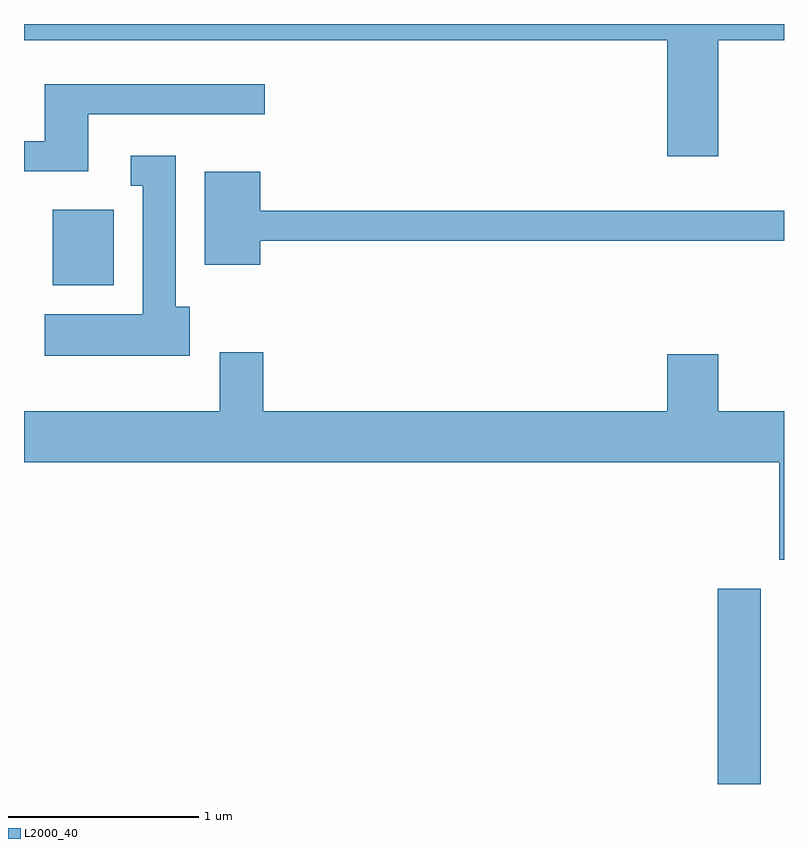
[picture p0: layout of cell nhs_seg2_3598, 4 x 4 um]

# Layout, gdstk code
import gdstk
lib = gdstk.Library(unit=1e-6, precision=1e-09)
def R(c, l, rs):  # rectangles x0, y0, x1, y1
    for r in rs: c.add(gdstk.rectangle(r[:2], r[2:], *l))
def P(c, l, *ps):  # polygons
    for p in ps: c.add(gdstk.Polygon(p, *l))
L2000_40 = (2000, 40)

nhs_seg2_3598 = lib.new_cell('nhs_seg2_3598')
R(nhs_seg2_3598, L2000_40, [(295.261,977.802,295.489,978.829), (291.761,980.426,292.084,980.824)])
P(nhs_seg2_3598, L2000_40, [(295.264,981.716),(295.611,981.716),(295.611,981.802),(291.611,981.802),(291.611,981.716),(294.996,981.716),(294.996,981.106),(295.264,981.106)],
  [(291.949,981.326),(292.878,981.326),(292.878,981.484),(291.721,981.484),(291.721,981.184),(291.611,981.184),(291.611,981.026),(291.949,981.026)],
  [(292.484,980.314),(292.409,980.314),(292.409,981.109),(292.173,981.109),(292.173,980.951),(292.236,980.951),(292.236,980.274),(291.721,980.274),(291.721,980.056),(292.484,980.056)],
  [(292.854,980.661),(295.611,980.661),(295.611,980.819),(292.854,980.819),(292.854,981.024),(292.561,981.024),(292.561,980.536),(292.854,980.536)],
  [(295.611,979.764),(295.264,979.764),(295.264,980.064),(294.996,980.064),(294.996,979.764),(292.869,979.764),(292.869,980.074),(292.641,980.074),(292.641,979.764),(291.611,979.764),(291.611,979.496),(295.586,979.496),(295.586,978.981),(295.611,978.981)])

lib.write_gds('nhs_seg2_3598.gds')
